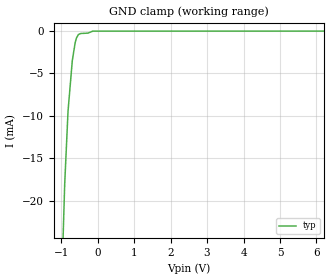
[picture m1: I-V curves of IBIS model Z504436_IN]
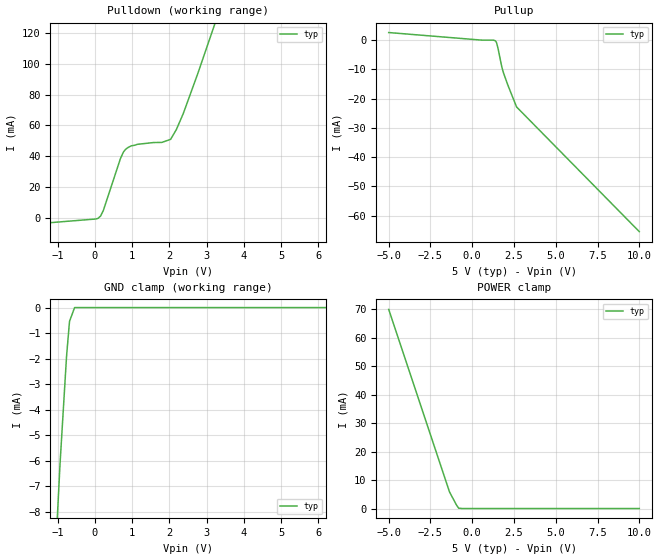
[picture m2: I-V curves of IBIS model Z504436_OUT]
| YOU ARE ONLY AUTHORIZED TO USE THIS SOFTWARE
| ACCORDING TO LICENSOR'S LICENSE RESTRICTIONS.
[IBIS Ver] 3.1
[File Name] sn54ls298j.ibs
[File Rev] 2.0
[Source] Measured and created by ICX Technology
[Date] Friday 7/14/00 9:08:14 AM
[Copyright]
| (C) COPYRIGHT 1993-2000
| MENTOR GRAPHICS CORPORATION
| ICX STANDARD LIBRARY, ICX PROJECT MODELING,
| ICX CUSTOM MODELING, ICX VENDOR MODEL
| ALL RIGHTS RESERVED.
| THE FOLLOWING ARE TRADEMARKS OR SERVICE MARKS OF
| MENTOR GRAPHICS CORPORATION:ICX (R), ICX STANDARD
| LIBRARY(R), ICX PROJECT MODELING(R), ICX CUSTOM
| MODELING(R), qualityIBIS(TM), MODELVIEWER(TM),
| AND MODELEDITOR(TM)
| ALL COPIES OF SOFTWARE, INCLUDING BUT NOT LIMITED TO
| ANY MODIFICATIONS, ENHANCEMENTS OR DERIVATIVE WORKS,
| MUST CONTAIN ALL MENTOR GRAPHICS CORPORATION'S
| NOTICES AND LEGENDS, INCLUDING THOSE EMBEDDED IN
| SOFTWARE AND THOSE AFFIXED TO SOFTWARE MEDIUM
| AND CONTAINER, AS RECEIVED FROM MENTOR GRAPHICS
| CORPORATION.
|  ZAP Model Builder 2.7
[Component] SN54LS298J
[Manufacturer] OnSemiconductor
[Package]
| variable   typ   min   max
R_pkg  .212ohms NA NA
L_pkg  4.758nH NA NA
C_pkg  1.944pF NA NA
[Pin] signal_name  model_name  R_pin  L_pin C_pin
1 B1 Z504436_IN .224 7.258n 2.683p
2 A1 Z504436_IN .216 5.258n 2.19p
3 A0 Z504436_IN .208 3.758n 1.697p
4 B0 Z504436_IN .2 2.758n 1.204p
5 C1 Z504436_IN .2 2.758n 1.204p
6 D1 Z504436_IN .208 3.758n 1.697p
7 D0 Z504436_IN .216 5.258n 2.19p
8 GND GND .224 7.258n 2.683p
9 C0 Z504436_IN .224 7.258n 2.683p
10 EN Z504436_IN .216 5.258n 2.19p
11 _CLK Z504436_IN .208 3.758n 1.697p
12 Y3 Z504436_OUT .2 2.758n 1.204p
13 Y2 Z504436_OUT .2 2.758n 1.204p
14 Y1 Z504436_OUT .208 3.758n 1.697p
15 Y0 Z504436_OUT .216 5.258n 2.19p
16 VCC POWER .224 7.258n 2.683p
| Models and submodels in the file (2): Z504436_IN (Input), Z504436_OUT (Output)
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| (C) COPYRIGHT 1993-2000
| MENTOR GRAPHICS CORPORATION
| ICX STANDARD LIBRARY, ICX PROJECT MODELING,
| ICX CUSTOM MODELING, ICX VENDOR MODEL
| ALL RIGHTS RESERVED.
| THE FOLLOWING ARE TRADEMARKS OR SERVICE MARKS OF
| MENTOR GRAPHICS CORPORATION:ICX (R), ICX STANDARD
| LIBRARY(R), ICX PROJECT MODELING(R), ICX CUSTOM
| MODELING(R), qualityIBIS(TM), MODELVIEWER(TM),
| AND MODELEDITOR(TM)
| ALL COPIES OF SOFTWARE, INCLUDING BUT NOT LIMITED TO
| ANY MODIFICATIONS, ENHANCEMENTS OR DERIVATIVE WORKS,
| MUST CONTAIN ALL MENTOR GRAPHICS CORPORATION'S
| NOTICES AND LEGENDS, INCLUDING THOSE EMBEDDED IN
| SOFTWARE AND THOSE AFFIXED TO SOFTWARE MEDIUM
| AND CONTAINER, AS RECEIVED FROM MENTOR GRAPHICS
| CORPORATION.
| Model Application Version 1.89 2/18/99.
[Model] Z504436_IN
Model_type Input
Vinl = 800.0mV
Vinh = 2.000V
C_comp 4.000pF NA NA
| variable typ   min   max
[Voltage Range] 5.000V NA NA
[GND Clamp Reference] 0.000V NA NA
[POWER Clamp Reference] 5.000V NA NA
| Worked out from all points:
|   GND clamp passes 1 mA (typ) near -0.59 V on its own axis
[GND Clamp]
-5V       -607.8mA   NA         NA
-901.8mV  -18.05mA   NA         NA
-810.5mV  -9.451mA   NA         NA
-693.4mV  -3.475mA   NA         NA
-614.7mV  -1.363mA   NA         NA
-581.1mV  -832.1uA   NA         NA
-527.3mV  -406.2uA   NA         NA
-463.8mV  -278.8uA   NA         NA
-263.7mV  -234.8uA   NA         NA
-131.9mV  -1.561uA   NA         NA
10V       4.875uA    NA         NA
[POWER Clamp]
-5V       0A         NA         NA
10V       0A         NA         NA
| (C) COPYRIGHT 1993-2000
| MENTOR GRAPHICS CORPORATION
| ICX STANDARD LIBRARY, ICX PROJECT MODELING,
| ICX CUSTOM MODELING, ICX VENDOR MODEL
| ALL RIGHTS RESERVED.
| THE FOLLOWING ARE TRADEMARKS OR SERVICE MARKS OF
| MENTOR GRAPHICS CORPORATION:ICX (R), ICX STANDARD
| LIBRARY(R), ICX PROJECT MODELING(R), ICX CUSTOM
| MODELING(R), qualityIBIS(TM), MODELVIEWER(TM),
| AND MODELEDITOR(TM)
| ALL COPIES OF SOFTWARE, INCLUDING BUT NOT LIMITED TO
| ANY MODIFICATIONS, ENHANCEMENTS OR DERIVATIVE WORKS,
| MUST CONTAIN ALL MENTOR GRAPHICS CORPORATION'S
| NOTICES AND LEGENDS, INCLUDING THOSE EMBEDDED IN
| SOFTWARE AND THOSE AFFIXED TO SOFTWARE MEDIUM
| AND CONTAINER, AS RECEIVED FROM MENTOR GRAPHICS
| CORPORATION.
| Model Application Version 1.89 2/18/99.
[Model] Z504436_OUT
Model_type Output
Vref=5.000V
Rref=2.000kohms
Cref=15.00pF
Vmeas=1.300V
C_comp 8.000pF NA NA
| variable typ   min   max
[Voltage Range] 5.000V NA NA
[POWER Clamp Reference] 5.000V NA NA
[Pullup Reference] 5.000V NA NA
[Pulldown Reference] 0.000V NA NA
[GND Clamp Reference] 0.000V NA NA
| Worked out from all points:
|   slope of the pulldown table from 0 to 0.75 V, typ, clamps not added: 17.5 ohm
|   slope of the pullup table from 0 to 0.75 V, typ, clamps not added: 2.72 kohm
|   GND clamp passes 1 mA (typ) near -0.71 V on its own axis
|   POWER clamp passes 1 mA (typ) near -0.92 V on its own axis
[GND Clamp]
-5V       -133.5mA   NA         NA
-1.133V   -11.71mA   NA         NA
-937.5mV  -6.105mA   NA         NA
-763.4mV  -1.913mA   NA         NA
-683.6mV  -539.4uA   NA         NA
-546.9mV  0A         NA         NA
10V       0A         NA         NA
[Pulldown]
-5V       -10.62mA   NA         NA
87.93mV   -297.7uA   NA         NA
224.8mV   4.761mA    NA         NA
684.3mV   38.49mA    NA         NA
761.9mV   42.61mA    NA         NA
973.7mV   46.71mA    NA         NA
1.795V    48.95mA    NA         NA
2.03V     50.93mA    NA         NA
2.185V    57.3mA     NA         NA
2.371V    67.73mA    NA         NA
2.762V    93.8mA     NA         NA
10V       604.4mA    NA         NA
[Pullup]
-5V       2.503mA    NA         NA
593.5mV   -94.11uA   NA         NA
1.26V     -94.11uA   NA         NA
1.343V    -209uA     NA         NA
1.421V    -536.2uA   NA         NA
1.46V     -1.039mA   NA         NA
1.542V    -2.836mA   NA         NA
1.772V    -9.285mA   NA         NA
1.866V    -11.18mA   NA         NA
2.119V    -15.22mA   NA         NA
2.652V    -22.86mA   NA         NA
10V       -65.4mA    NA         NA
[POWER Clamp]
-5V       70.03mA    NA         NA
-1.361V   5.837mA    NA         NA
-947mV    1.262mA    NA         NA
-811mV    107.5uA    NA         NA
-608.2mV  0A         NA         NA
10V       0A         NA         NA
[Ramp]
| variable typ min max
dV/dt_r 1.938/10.57n NA NA
dV/dt_f 1.938/3.194n NA NA
R_load = 500.0Ohms
